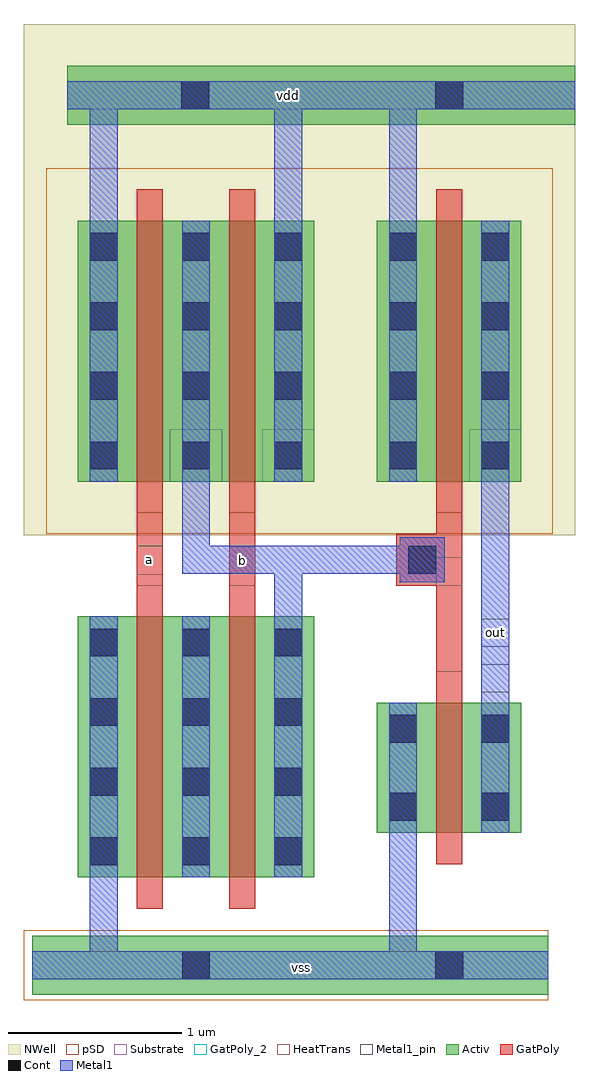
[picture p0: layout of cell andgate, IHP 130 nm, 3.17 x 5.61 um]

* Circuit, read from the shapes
.subckt andgate a b out vdd vss
XM1 n1 a vss vss sg13_lv_nmos w=1.5u l=0.15u
XM2 inverter_1/in b n1 vss sg13_lv_nmos w=1.5u l=0.15u
XM3 out inverter_1/in vss vss sg13_lv_nmos w=0.75u l=0.15u
XM4 inverter_1/in a vdd vdd sg13_lv_pmos w=1.5u l=0.15u
XM5 vdd b inverter_1/in vdd sg13_lv_pmos w=1.5u l=0.15u
XM6 out inverter_1/in vdd vdd sg13_lv_pmos w=1.5u l=0.15u
.ends

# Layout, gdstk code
import gdstk
lib = gdstk.Library(unit=1e-6, precision=5e-09)
def R(c, l, rs):  # rectangles x0, y0, x1, y1
    for r in rs: c.add(gdstk.rectangle(r[:2], r[2:], *l))
def A(c, l, x, y, w, h, nx, ny, dx, dy):  # array of equal rectangles
    R(c, l, [(x+i*dx, y+j*dy, x+i*dx+w, y+j*dy+h) for i in range(nx) for j in range(ny)])
Activ = (1, 0)
GatPoly = (5, 0)
GatPoly_2 = (5, 2)
Cont = (6, 0)
Metal1 = (8, 0)
Metal1_pin = (8, 2)
pSD = (14, 0)
NWell = (31, 0)
Substrate = (40, 0)
HeatTrans = (51, 0)

nmos_1_1 = lib.new_cell('nmos$1$1')
R(nmos_1_1, Activ, [(0,0,0.3,0.3), (0,0,0.83,1.5), (0.53,0,0.83,0.3)])
R(nmos_1_1, GatPoly, [(0.34,-0.18,0.49,1.68)])
R(nmos_1_1, GatPoly_2, [(0.34,-0.18,0.49,1.68)])
A(nmos_1_1, Cont, 0.07, 0.07, 0.16, 0.16, 1, 4, 0, 0.4)
A(nmos_1_1, Cont, 0.6, 0.07, 0.16, 0.16, 1, 4, 0, 0.4)
R(nmos_1_1, Metal1, [(0.07,0,0.23,1.5), (0.6,0,0.76,1.5)])
R(nmos_1_1, Metal1_pin, [(0.07,0,0.23,1.5), (0.6,0,0.76,1.5)])
R(nmos_1_1, HeatTrans, [(0.34,-0.18,0.49,1.68)])
nmos_1_1.add(gdstk.Label('nmos', (0.415,0.75), layer=63, texttype=0))
nmos_1_1.add(gdstk.Label('nmos', (0.415,0.75), layer=51, texttype=0))

pmos_2 = lib.new_cell('pmos$2')
R(pmos_2, Activ, [(0,0,0.3,0.3), (0,0,0.83,1.5), (0.53,0,0.83,0.3)])
R(pmos_2, GatPoly, [(0.34,-0.18,0.49,1.68), (0.34,-0.18,0.49,1.68)])
A(pmos_2, Cont, 0.07, 0.07, 0.16, 0.16, 1, 4, 0, 0.4)
A(pmos_2, Cont, 0.6, 0.07, 0.16, 0.16, 1, 4, 0, 0.4)
R(pmos_2, Metal1, [(0.07,0,0.23,1.5), (0.07,0,0.23,1.5), (0.6,0,0.76,1.5), (0.6,0,0.76,1.5)])
R(pmos_2, pSD, [(-0.18,-0.3,1.01,1.8)])
R(pmos_2, NWell, [(-0.31,-0.31,1.14,1.81)])
R(pmos_2, Substrate, [(0.53,0,0.83,0.3)])
R(pmos_2, HeatTrans, [(0.34,-0.18,0.49,1.68)])
pmos_2.add(gdstk.Label('pmos', (0.415,0.75), layer=63, texttype=0))
pmos_2.add(gdstk.Label('pmos', (0.415,0.75), layer=51, texttype=0))

nand = lib.new_cell('nand')
R(nand, Activ, [(-2.885,-1.84,-0.955,-1.5), (-2.685,3.16,-0.955,3.5)])
R(nand, GatPoly, [(-2.285,-0.62,-2.135,1.58), (-1.755,-0.62,-1.605,1.585)])
R(nand, GatPoly_2, [(-1.755,0.46,-1.605,0.625), (-2.285,0.575,-2.135,0.74)])
R(nand, Cont, [(-2.025,-1.75,-1.865,-1.59), (-2.025,-1.75,-1.865,-1.59), (-2.03,3.25,-1.87,3.41)])
R(nand, Metal1, [(-2.885,-1.75,-0.955,-1.59), (-2.555,-1.75,-2.395,-0.535), (-1.495,-0.13,-1.335,0.74), (-2.555,1.98,-2.395,3.41), (-1.495,1.98,-1.335,3.41), (-2.685,3.25,-0.955,3.41)])
R(nand, Metal1_pin, [(-2.885,-1.75,-0.955,-1.59), (-1.495,-0.295,-1.335,-0.135), (-2.685,3.25,-0.955,3.41), (-2.03,3.25,-1.87,3.41)])
R(nand, pSD, [(-2.935,-1.87,-0.955,-1.47)])
R(nand, NWell, [(-2.935,2.92,-0.955,3.74)])
nand.add(gdstk.FlexPath([(-1.945,1.74),(-1.945,0.66),(-1.335,0.66)], 0.16, ends="flush", simple_path=True, layer=8, datatype=0))  # Metal1
nand.add(gdstk.Reference(nmos_1_1, (-2.625,-1.165)))
nand.add(gdstk.Reference(nmos_1_1, (-2.095,-1.165)))
nand.add(gdstk.Reference(pmos_2, (-2.625,1.11)))
nand.add(gdstk.Reference(pmos_2, (-2.095,1.11)))
nand.add(gdstk.Label('vss', (-1.955,-1.685), layer=8, texttype=2))
nand.add(gdstk.Label('vdd', (-1.965,3.325), layer=8, texttype=2))
nand.add(gdstk.Label('out', (-1.415,-0.22), layer=8, texttype=2))
nand.add(gdstk.Label('b', (-1.705,0.545), layer=5, texttype=2))
nand.add(gdstk.Label('a', (-2.235,0.66), layer=5, texttype=2))

m1_cont1_pmos = lib.new_cell('M1_Cont1_PMOS')
R(m1_cont1_pmos, Activ, [(-0.72,-0.175,0.73,0.165)])
R(m1_cont1_pmos, Cont, [(-0.075,-0.085,0.085,0.075)])
R(m1_cont1_pmos, Metal1, [(-0.72,-0.085,0.73,0.075)])
R(m1_cont1_pmos, Metal1_pin, [(-0.72,-0.085,0.73,0.075)])
R(m1_cont1_pmos, NWell, [(-0.72,-0.415,0.73,0.405)])

m1_bulkcont1_pmos = lib.new_cell('M1_BulkCont1_PMOS')
r = gdstk.Reference(m1_cont1_pmos, (-0.015,-0.015)); r.repetition = gdstk.Repetition(1, 1, v1=(0,0), v2=(0,0)); m1_bulkcont1_pmos.add(r)

m1_cont1_nmos = lib.new_cell('M1_Cont1_NMOS')
R(m1_cont1_nmos, Activ, [(-0.56,-0.175,0.58,0.165)])
R(m1_cont1_nmos, Cont, [(-0.07,-0.085,0.09,0.075)])
R(m1_cont1_nmos, Metal1, [(-0.56,-0.085,0.58,0.075)])
R(m1_cont1_nmos, Metal1_pin, [(-0.56,-0.085,0.58,0.075)])
R(m1_cont1_nmos, pSD, [(-0.56,-0.205,0.58,0.195)])

m1_bulkcont1_nmos = lib.new_cell('M1_BulkCont1_NMOS')
r = gdstk.Reference(m1_cont1_nmos, (0.005,0.01)); r.repetition = gdstk.Repetition(1, 1, v1=(0,0), v2=(0,0)); m1_bulkcont1_nmos.add(r)

nmos_1 = lib.new_cell('nmos$1')
R(nmos_1, Activ, [(0,0,0.3,0.3), (0,0,0.83,0.75), (0.53,0,0.83,0.3)])
R(nmos_1, GatPoly, [(0.34,-0.18,0.49,0.93)])
R(nmos_1, GatPoly_2, [(0.34,-0.18,0.49,0.93)])
R(nmos_1, Cont, [(0.07,0.07,0.23,0.23), (0.6,0.07,0.76,0.23), (0.07,0.52,0.23,0.68), (0.6,0.52,0.76,0.68)])
R(nmos_1, Metal1, [(0.07,0,0.23,0.75), (0.6,0,0.76,0.75)])
R(nmos_1, Metal1_pin, [(0.07,0,0.23,0.75), (0.6,0,0.76,0.75)])
R(nmos_1, HeatTrans, [(0.34,-0.18,0.49,0.93)])
nmos_1.add(gdstk.Label('nmos', (0.415,0.375), layer=63, texttype=0))
nmos_1.add(gdstk.Label('nmos', (0.415,0.375), layer=51, texttype=0))

pmos_1_1 = lib.new_cell('pmos$1$1')
R(pmos_1_1, Activ, [(0,0,0.3,0.3), (0,0,0.83,1.5), (0.53,0,0.83,0.3)])
R(pmos_1_1, GatPoly, [(0.34,-0.18,0.49,1.68), (0.34,-0.18,0.49,1.68)])
A(pmos_1_1, Cont, 0.07, 0.07, 0.16, 0.16, 1, 4, 0, 0.4)
A(pmos_1_1, Cont, 0.6, 0.07, 0.16, 0.16, 1, 4, 0, 0.4)
R(pmos_1_1, Metal1, [(0.07,0,0.23,1.5), (0.07,0,0.23,1.5), (0.6,0,0.76,1.5), (0.6,0,0.76,1.5)])
R(pmos_1_1, pSD, [(-0.18,-0.3,1.01,1.8)])
R(pmos_1_1, NWell, [(-0.31,-0.31,1.14,1.81)])
R(pmos_1_1, Substrate, [(0.53,0,0.83,0.3)])
R(pmos_1_1, HeatTrans, [(0.34,-0.18,0.49,1.68)])
pmos_1_1.add(gdstk.Label('pmos', (0.415,0.75), layer=63, texttype=0))
pmos_1_1.add(gdstk.Label('pmos', (0.415,0.75), layer=51, texttype=0))

inverter = lib.new_cell('inverter')
R(inverter, GatPoly, [(-0.075,-1.72,0.075,0.805)])
R(inverter, GatPoly_2, [(-0.075,-0.425,0.075,-0.26)])
R(inverter, Cont, [(-0.08,-2.685,0.08,-2.525), (-0.08,2.315,0.08,2.475)])
R(inverter, Metal1, [(-0.345,-2.685,-0.185,-1.72), (0.185,-1.72,0.345,0.805), (-0.345,1.37,-0.185,2.475)])
R(inverter, Metal1_pin, [(-0.08,-2.685,0.08,-2.525), (0.185,-1.035,0.345,-0.875), (-0.08,2.315,0.08,2.475)])
inverter.add(gdstk.Reference(m1_bulkcont1_pmos, (0.01,2.415)))
inverter.add(gdstk.Reference(m1_bulkcont1_nmos, (-0.015,-2.61)))
inverter.add(gdstk.Reference(nmos_1, (-0.415,-1.845)))
inverter.add(gdstk.Reference(pmos_1_1, (-0.415,0.175)))
inverter.add(gdstk.Label('vdd', (-0.015,2.39), layer=8, texttype=2))
inverter.add(gdstk.Label('vss', (-0.01,-2.62), layer=8, texttype=2))
inverter.add(gdstk.Label('out', (0.27,-0.95), layer=8, texttype=2))
inverter.add(gdstk.Label('in', (-0.025,-0.34), layer=5, texttype=2))

andgate = lib.new_cell('andgate')
R(andgate, GatPoly, [(0.49,-0.425,0.87,-0.125)])
R(andgate, GatPoly_2, [(-0.47,-0.36,-0.32,-0.2), (-1,-0.355,-0.85,-0.195)])
R(andgate, Cont, [(0.56,-0.355,0.72,-0.195)])
R(andgate, Metal1, [(-0.13,-2.685,0.03,-2.525), (0.51,-0.405,0.77,-0.145), (-0.05,-0.355,0.72,-0.195), (-0.21,2.315,-0.05,2.475)])
R(andgate, Metal1_pin, [(0.98,-0.775,1.14,-0.615)])
andgate.add(gdstk.Reference(nand, (1.285,-0.935)))
andgate.add(gdstk.Reference(inverter, (0.795,0)))
andgate.add(gdstk.Label('vdd', (-0.13,2.395), layer=8, texttype=0))
andgate.add(gdstk.Label('vss', (-0.055,-2.62), layer=8, texttype=0))
andgate.add(gdstk.Label('out', (1.06,-0.695), layer=8, texttype=2))
andgate.add(gdstk.Label('a', (-0.925,-0.275), layer=5, texttype=2))
andgate.add(gdstk.Label('b', (-0.395,-0.28), layer=5, texttype=2))

lib.write_gds('andgate.gds')
